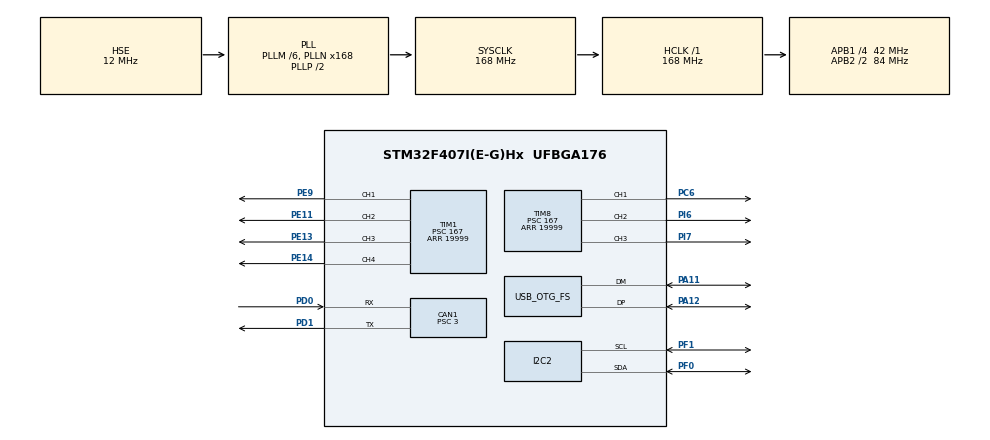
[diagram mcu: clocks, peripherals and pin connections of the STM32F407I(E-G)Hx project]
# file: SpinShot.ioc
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CAN1.BS1=CAN_BS1_10TQ
CAN1.BS2=CAN_BS2_3TQ
CAN1.CalculateBaudRate=1000000
CAN1.CalculateTimeBit=1000
CAN1.CalculateTimeQuantum=71.42857142857143
CAN1.NART=ENABLE
CAN1.Prescaler=3
I2C2.I2C_Mode=I2C_Fast
Mcu.Family=STM32F4
Mcu.Name=STM32F407I(E-G)Hx
Mcu.Package=UFBGA176
NVIC.CAN1_RX0_IRQn=true\:0\:0\:false\:false\:true\:true\:true\:true
NVIC.OTG_FS_IRQn=true\:0\:0\:false\:false\:true\:true\:true\:true
NVIC.PriorityGroup=NVIC_PRIORITYGROUP_4
PA11.Mode=Device_Only
PA11.Signal=USB_OTG_FS_DM
PA12.Mode=Device_Only
PA12.Signal=USB_OTG_FS_DP
PA13.Mode=Serial_Wire
PA13.Signal=SYS_JTMS-SWDIO
PA14.Mode=Serial_Wire
PA14.Signal=SYS_JTCK-SWCLK
PC6.Signal=S_TIM8_CH1
PD0.Mode=CAN_Activate
PD0.Signal=CAN1_RX
PD1.Mode=CAN_Activate
PD1.Signal=CAN1_TX
PE11.Signal=S_TIM1_CH2
PE13.Signal=S_TIM1_CH3
PE14.Signal=S_TIM1_CH4
PE9.Signal=S_TIM1_CH1
PF0.Mode=I2C
PF0.Signal=I2C2_SDA
PF1.Mode=I2C
PF1.Signal=I2C2_SCL
PH0-OSC_IN.Mode=HSE-External-Oscillator
PH0-OSC_IN.Signal=RCC_OSC_IN
PH1-OSC_OUT.Mode=HSE-External-Oscillator
PH1-OSC_OUT.Signal=RCC_OSC_OUT
PI6.Signal=S_TIM8_CH2
PI7.Signal=S_TIM8_CH3
ProjectManager.HeapSize=0x200
ProjectManager.StackSize=0x400
ProjectManager.TargetToolchain=MDK-ARM V5
RCC.48MHZClocksFreq_Value=48000000
RCC.AHBFreq_Value=168000000
RCC.APB1CLKDivider=RCC_HCLK_DIV4
RCC.APB1Freq_Value=42000000
RCC.APB1TimFreq_Value=84000000
RCC.APB2CLKDivider=RCC_HCLK_DIV2
RCC.APB2Freq_Value=84000000
RCC.APB2TimCLKDivider=2
RCC.APB2TimFreq_Value=168000000
RCC.CortexFreq_Value=168000000
RCC.HCLKFreq_Value=168000000
RCC.HSE_VALUE=12000000
RCC.HSI_VALUE=16000000
RCC.LSE_VALUE=32768
RCC.PLLM=6
RCC.PLLN=168
RCC.PLLQ=7
RCC.SYSCLKFreq_VALUE=168000000
RCC.SYSCLKSource=RCC_SYSCLKSOURCE_PLLCLK
RCC.VCOOutputFreq_Value=336000000
SH.S_TIM1_CH1.0=TIM1_CH1,PWM Generation1 CH1
SH.S_TIM1_CH2.0=TIM1_CH2,PWM Generation2 CH2
SH.S_TIM1_CH3.0=TIM1_CH3,PWM Generation3 CH3
SH.S_TIM1_CH4.0=TIM1_CH4,PWM Generation4 CH4
SH.S_TIM8_CH1.0=TIM8_CH1,PWM Generation1 CH1
SH.S_TIM8_CH2.0=TIM8_CH2,PWM Generation2 CH2
SH.S_TIM8_CH3.0=TIM8_CH3,PWM Generation3 CH3
TIM1.Channel-PWM\ Generation1\ CH1=TIM_CHANNEL_1
TIM1.Channel-PWM\ Generation2\ CH2=TIM_CHANNEL_2
TIM1.Channel-PWM\ Generation3\ CH3=TIM_CHANNEL_3
TIM1.Channel-PWM\ Generation4\ CH4=TIM_CHANNEL_4
TIM1.Period=19999
TIM1.Prescaler=167
TIM1.Pulse-PWM\ Generation1\ CH1=2000
TIM1.Pulse-PWM\ Generation2\ CH2=2000
TIM1.Pulse-PWM\ Generation3\ CH3=2000
TIM1.Pulse-PWM\ Generation4\ CH4=2000
TIM8.Channel-PWM\ Generation1\ CH1=TIM_CHANNEL_1
TIM8.Channel-PWM\ Generation2\ CH2=TIM_CHANNEL_2
TIM8.Channel-PWM\ Generation3\ CH3=TIM_CHANNEL_3
TIM8.Period=19999
TIM8.Prescaler=167
TIM8.Pulse-PWM\ Generation1\ CH1=2000
TIM8.Pulse-PWM\ Generation2\ CH2=2000
TIM8.Pulse-PWM\ Generation3\ CH3=2000
USB_DEVICE.CLASS_NAME_FS=CDC
USB_DEVICE.VirtualMode-CDC_FS=Cdc
USB_DEVICE.VirtualModeFS=Cdc_FS
USB_OTG_FS.VirtualMode=Device_Only
VP_TIM1_VS_ClockSourceINT.Mode=Internal
VP_TIM8_VS_ClockSourceINT.Mode=Internal
VP_USB_DEVICE_VS_USB_DEVICE_CDC_FS.Mode=CDC_FS
board=custom

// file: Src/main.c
/* USER CODE BEGIN Header */
/**
  ******************************************************************************
  * @file           : main.c
  * @brief          : Main program body for controlling a motor with various states
  ******************************************************************************
  * Project Name: SpinShot
  * Author: Chia-An Fan et al.
  * Conference: UIST2024
  ******************************************************************************
  * Supplementary Information:
  * - Upon receiving messages from the serial interface, commands are parsed in the
  *   usbd_cdc_if.c file and enqueued in the command queue for execution.
  * - Definitions for Status, Command_Type, and other key configurations are provided
  *   in main.h, centralizing important data types and enums.
  * - PID control operations are handled through functions defined in pid.c, ensuring
  *   precise control over motor behavior based on dynamic feedback.
  * - Motor status updates are managed via the CAN bus, with detailed handling and
  *   parsing implemented in CAN_receive.c to ensure timely updates to system states.
  ******************************************************************************
  */
/* USER CODE END Header */
#include "main.h"
#include "can.h"
#include "i2c.h"
#include "tim.h"
#include "usb_device.h"
#include "gpio.h"

/* USER CODE BEGIN Includes */
#include "bsp_can.h"
#include "CAN_receive.h"
#include "usbd_cdc_if.h"
#include "pid.h"
#include <stdlib.h>

//#include "commend_processor.h"

/* USER CODE END Includes */

/* USER CODE BEGIN PD */
#define AS5600_RAW_ADDR 0x36
#define AS5600_ADDR (AS5600_RAW_ADDR << 1)
#define AS5600_RAW_ANGLE_REGISTER 0x0C

#define VALUE_ANGLE_15 170
#define VALUE_ANGLE_180 2048

#define MINIM_LATENCY_FACTOR 0.24

void Print_Rpm(void);
void Print_Angle(void);
void Print(void);
void Reset_Angle(void);
void Read_And_Calculate_Angle(void);
void Process_Commend(void);
void Brake_Event_Start(void);
bool_t Brake_Event(void);
bool_t IsReadyToBrake(void);
bool_t IsAboutToCollide(void);
bool_t IsCollided(void);
void Calibrate_Angle();
uint16_t Read_Raw_Angle(void);
//tool
void get_dec_str(uint8_t*, size_t, int32_t, bool_t);
/* USER CODE END PD */

/* USER CODE BEGIN PV */
Command_Queue *command_queue;      // Queue for managing incoming commands

/* Enumerated states for different phases of operation */
enum Status status = NOT_CALIBRATED;
enum Impact_phases impact_phases = IMPACT_STANDBY;
enum ERR_TYPE err_type = NO_ERR;

/* Variables to store angles and their base calibration */
static float angle = 0;
static float base_raw_angle = 0;
uint8_t angle_err_counter = 0;

/* Timer variables */
static uint32_t brake_start_time;
static uint32_t last_print_time;

/* Control variables */
int16_t impact_mode;
int16_t target_rpm;
int16_t accelerate_current;
int16_t shift_angle;
PID_TypeDef motor_pid;

/* Message and logging variables */
int16_t message_type = 0;
float last_angle = 0;

/* Runtime operational parameters */
static int16_t current_rpm = 0;
static int16_t current_torque = 0;
bool_t impact_direction = 0;

/* Configuration parameters for device operation */
uint32_t print_freq = 10; // Frequency of status prints in milliseconds
uint32_t minimum_impact_rpm = 150;  // Minimum RPM for impact

/* USER CODE END PV */

void SystemClock_Config(void);

int main(void)
{

    /* MCU Configuration--------------------------------------------------------*/

    /* Reset of all peripherals, Initializes the Flash interface and the Systick. */
    HAL_Init();

    /* Configure the system clock */
    SystemClock_Config();

    /* Initialize all configured peripherals */
    MX_GPIO_Init();
    MX_CAN1_Init();
    MX_USB_DEVICE_Init();
    MX_TIM1_Init();
    MX_TIM8_Init();
    MX_I2C2_Init();

    /* USER CODE BEGIN 2 */
	// Initial setup for timers and PWM
	last_print_time = HAL_GetTick();
	HAL_TIM_Base_Start(&htim1);
	HAL_TIM_PWM_Start(&htim1, TIM_CHANNEL_1);

	can_filter_init();
	pid_init(&motor_pid);
	//motor_pid.f_param_init(&motor_pid,PID_Speed,16384,5000,10,0,8000,0,1.5,0.1,0); // another PID parameter set
	motor_pid.f_param_init(&motor_pid,PID_Speed,16384,5000,10,0,8000,0,3,0.06,0.06);
	__HAL_TIM_SetCompare(&htim1, TIM_CHANNEL_1, 0);
	command_queue = Command_Queue_Init();
  /* USER CODE END 2 */

  /* Infinite loop */
  /* USER CODE BEGIN WHILE */
    while (1)
    {
        // Read and process motor speed and commands
		current_rpm = (get_motor_measure_point())->speed_rpm / 36;
        current_torque = (get_motor_measure_point())->given_current;
		Process_Commend();

		Read_And_Calculate_Angle();

        // Logic for different operational states
		if(status == STABLE || (status == IMPACT && impact_phases == IMPACT_PHASE_1)) {
			motor_pid.target = target_rpm * 36;
			motor_pid.f_cal_pid(&motor_pid, (get_motor_measure_point())->speed_rpm);
			CAN_cmd_current(motor_pid.output);
		}
		if(status == FREE || status == NOT_CALIBRATED)
		{
			CAN_cmd_current(0);  /* no current */
		}
		else if(status == ACCELERATE){
			if(current_rpm < target_rpm - 10) CAN_cmd_current(accelerate_current);
			else if(current_rpm > target_rpm + 10) CAN_cmd_current(-accelerate_current);
			else {
				status = STABLE;
			}
		}
        else if(status == WAIT) {
            if((current_rpm > target_rpm - 10) || (current_rpm < target_rpm + 10))
                status = STABLE;
        }
		else if(status == IMPACT){
			if(((current_rpm > minimum_impact_rpm) || (-current_rpm > minimum_impact_rpm)) && Brake_Event()){
                status = FREE;
			}
		}
        else if(status == IMPACT_AFTER) {
            CAN_cmd_current(0);
            if(current_rpm < 10 || current_rpm > -10)
                status = FREE;
        }
		else if(status == CALIBRATE){
			Calibrate_Angle();
			status = FREE;
		}
        else if(status == ERR) {
            CAN_cmd_current(0); // Turn off the motor
            __HAL_TIM_SetCompare(&htim1, TIM_CHANNEL_1, 0);  // Deactivate the solenoid
        }
		Print();

		// Safety check for solenoid deactivation
		if(HAL_GetTick() - brake_start_time > 1000) __HAL_TIM_SetCompare(&htim1, TIM_CHANNEL_1, 0);  //turn off the solenoid

		HAL_Delay(1);
    /* USER CODE END WHILE */

    }
}

void SystemClock_Config(void)
{
    RCC_OscInitTypeDef RCC_OscInitStruct = {0};
    RCC_ClkInitTypeDef RCC_ClkInitStruct = {0};

    /** Configure the main internal regulator output voltage
    */
    __HAL_RCC_PWR_CLK_ENABLE();
    __HAL_PWR_VOLTAGESCALING_CONFIG(PWR_REGULATOR_VOLTAGE_SCALE1);

    /** Initializes the RCC Oscillators according to the specified parameters
    * in the RCC_OscInitTypeDef structure.
    */
    RCC_OscInitStruct.OscillatorType = RCC_OSCILLATORTYPE_HSE;
    RCC_OscInitStruct.HSEState = RCC_HSE_ON;
    RCC_OscInitStruct.PLL.PLLState = RCC_PLL_ON;
    RCC_OscInitStruct.PLL.PLLSource = RCC_PLLSOURCE_HSE;
    RCC_OscInitStruct.PLL.PLLM = 6;
    RCC_OscInitStruct.PLL.PLLN = 168;
    RCC_OscInitStruct.PLL.PLLP = RCC_PLLP_DIV2;
    RCC_OscInitStruct.PLL.PLLQ = 7;
    if (HAL_RCC_OscConfig(&RCC_OscInitStruct) != HAL_OK)
    {
    Error_Handler();
    }

    /** Initializes the CPU, AHB and APB buses clocks
    */
    RCC_ClkInitStruct.ClockType = RCC_CLOCKTYPE_HCLK|RCC_CLOCKTYPE_SYSCLK
                              |RCC_CLOCKTYPE_PCLK1|RCC_CLOCKTYPE_PCLK2;
    RCC_ClkInitStruct.SYSCLKSource = RCC_SYSCLKSOURCE_PLLCLK;
    RCC_ClkInitStruct.AHBCLKDivider = RCC_SYSCLK_DIV1;
    RCC_ClkInitStruct.APB1CLKDivider = RCC_HCLK_DIV4;
    RCC_ClkInitStruct.APB2CLKDivider = RCC_HCLK_DIV2;

    if (HAL_RCC_ClockConfig(&RCC_ClkInitStruct, FLASH_LATENCY_5) != HAL_OK)
    {
    Error_Handler();
    }
}

/* USER CODE BEGIN 4 */

/**
 * @brief Manages the progression of a braking event through its various phases.
 * This function handles the transition between different phases of a braking event based on certain conditions.
 * It starts with checking readiness to brake, then checks for imminent collision, and finally confirms a collision.
 *
 * @return bool_t - Returns 1 (true) if a collision has occurred and the system has responded appropriately, otherwise 0 (false).
 */
bool_t Brake_Event(){
    // Check if the system is ready to initiate braking and if it's in standby phase
	if(impact_phases == IMPACT_STANDBY && IsReadyToBrake()) {
		impact_phases = IMPACT_PHASE_1; // Move to the first phase of the braking process
		Brake_Event_Start(); // Start the braking process by activating the solenoid
	}
    // Check if the system is in the first phase and a collision is about to happen
	if(impact_phases == IMPACT_PHASE_1 && IsAboutToCollide()){
		CAN_cmd_current(0); // Command the motor to stop to prevent motor stall
		impact_phases = IMPACT_PHASE_2; // Move to the second phase
	}
    // If the system is in the second phase and a collision has occurred
	else if(impact_phases == IMPACT_PHASE_2 && IsCollided()){
		impact_phases = IMPACT_END; // Move to the end phase indicating the impact is complete
		__HAL_TIM_SetCompare(&htim1, TIM_CHANNEL_1, 0); // Deactivate the solenoid
		return 1;
	}
	return 0;
}

/**
 * @brief Checks if conditions are suitable for extending the stopper based on the current flywheel angle and RPMs.
 * This function calculates a buffer angle based on the higher of the current or target RPMs adjusted by a latency factor.
 * It determines if the current mechanical angle is within the calculated safe range for braking.
 * @return bool_t - Returns 1 (true) if conditions are met for braking, otherwise 0 (false).
 */
bool_t IsReadyToBrake() {
    int16_t buffer_degree;
    // Check if motor is spinning in the positive direction
	if(current_rpm > 0 && target_rpm > 0) {
        // Calculate buffer based on the maximum of current or target RPMs
        buffer_degree = (int16_t)(((current_rpm > target_rpm) ? current_rpm : target_rpm) * MINIM_LATENCY_FACTOR) + 1;
        // Check if the angle is within the safe braking range
		if((angle > 15 && angle < (180 - buffer_degree)) || (angle > 195 && angle < (360 - buffer_degree))){
			impact_direction = 0;
			return 1;
		}
	}
    // Check if motor is spinning in the negative direction
	else if(current_rpm < 0 && target_rpm < 0) {
        // Calculate buffer for negative RPMs
        buffer_degree = (int16_t)(((-current_rpm > -target_rpm) ? -current_rpm : -target_rpm) * MINIM_LATENCY_FACTOR) + 1;
        // Check if the angle is within the safe braking range for reverse direction
		if((angle < 345 && angle > (180 + buffer_degree)) || (angle < 165 && angle > buffer_degree)){
			impact_direction = 1;
			return 1;
		}
	}
	return 0;
}

/**
 * @brief Initializes the brake event by activating the solenoid and recording the start time.
 * The solenoid is activated to a specific comparison value to start the braking process.
 */
void Brake_Event_Start() {
	__HAL_TIM_SetCompare(&htim1, TIM_CHANNEL_1, 20000); // Activate solenoid
	brake_start_time = HAL_GetTick(); // Record the start time to manage braking duration
}

/**
 * @brief Determines if the mechanical system is about to collide based on the current angle and impact direction.
 * This function checks predefined critical angle ranges to predict an imminent collision.
 * @return bool_t - Returns 1 (true) if a collision is imminent, otherwise 0 (false).
 */
bool_t IsAboutToCollide(){
    // Check angles for potential collisions based on current impact direction
	if(impact_direction == 0 && ((angle > 145 && angle < 175) || (angle > 325 && angle < 355))) return 1;
	else if(impact_direction == 1 && ((angle > 185 && angle < 215) || (angle > 5 && angle < 35))) return 1;
	return 0;
}

/**
 * @brief Checks if a collision has occurred based on the motor's RPM.
 * The function evaluates the motor speed to determine if it has effectively stopped moving due to an impact.
 * @return bool_t - Returns 1 (true) if a collision is detected, otherwise 0 (false).
 */
bool_t IsCollided() {
    // Evaluate motor speed to check if it has stopped due to collision
	if ((impact_direction == 0 && (get_motor_measure_point())->speed_rpm <= 0) ||
        (impact_direction == 1 && (get_motor_measure_point())->speed_rpm >= 0)) {
        return 1;
    }
	return 0;
}

/**
 * @brief Calibrates the angle sensor by reading the raw angle and setting it as the base reference point.
 * This function is typically called to reset the angle measurement to zero based on current position.
 */
void Calibrate_Angle(){
	base_raw_angle = (float)Read_Raw_Angle();
}

/**
 * @brief Reads the raw angle value from an AS5600 sensor using I2C communication.
 * This function transmits the register address and then reads the 2-byte raw angle value from the sensor.
 * If the read operation is successful and no previous encoder error was detected, it resets any error conditions.
 * In case of repeated failed reads, it flags an encoder error after a threshold is exceeded.
 *
 * @return uint16_t - The raw angle if read successfully, 0 otherwise (also indicates an error condition).
 */
uint16_t Read_Raw_Angle(){
	HAL_StatusTypeDef hal_status;
	uint8_t buffer[2] = {0};  // Buffer to hold the 2-byte angle data
	uint16_t raw_angle = 0;   // Variable to store the combined raw angle value
	uint8_t raw_angle_register = AS5600_RAW_ANGLE_REGISTER;  // I2C register address for the angle

    // Transmit the address of the angle register to the sensor
	hal_status = HAL_I2C_Master_Transmit(&hi2c2, AS5600_ADDR, &raw_angle_register, 1, 11);
    // Receive the 2-byte raw angle value from the sensor
	hal_status = HAL_I2C_Master_Receive(&hi2c2, (AS5600_ADDR | 1), buffer, 2, 12);

    if(hal_status == HAL_OK) {  // Check if the I2C operations were successful
        if(status == ERR && err_type == ENCODER_ERR){  // Reset error status if previously in error
            status = FREE;
            err_type = NO_ERR;
        }
        raw_angle = buffer[0] << 8 | buffer[1];  // Combine the two bytes into one raw angle value
        angle_err_counter = 0;  // Reset the error counter on successful read
        return raw_angle;
    }
	else {
        angle_err_counter++;  // Increment the error counter on failure
        if(angle_err_counter > 100){  // Check if error count exceeds threshold
            status = ERR;  // Set system status to error
            err_type = ENCODER_ERR;  // Specify encoder error
        }
        return 0;
    }
}

/**
 * @brief Calculates the processed angle from the raw sensor data.
 * This function reads the raw angle from the sensor and adjusts it based on the base calibration angle.
 * It then converts this adjusted raw value into a 360-degree scale format to represent the actual angle.
 */
void Read_And_Calculate_Angle(){
	float raw_angle = (float)Read_Raw_Angle();  // Get the raw angle from the sensor
    if(raw_angle < 4096) {  // Validate that the raw angle is within the expected range
        // Calculate the actual angle by adjusting from the base angle and converting to degrees
    	angle = raw_angle >= base_raw_angle ? raw_angle - base_raw_angle : raw_angle + 4096 - base_raw_angle;
        angle = angle * 360 / 4096;  // Scale the adjusted angle to a 0-360 degree range
    }
}

/**
 * @brief Initializes and allocates memory for a new command queue.
 * This function sets up a command queue with a predefined capacity, initializing all parameters
 * and allocating memory for storing commands.
 *
 * @return Command_Queue* - Pointer to the newly allocated command queue; NULL if memory allocation fails.
 */
Command_Queue * Command_Queue_Init(){
	Command_Queue *q = malloc(sizeof(Command_Queue));
    if(!q) {
        return q;
    }
    q->null_command.type = C_NOP;
    q->size = 0;
    q->capacity = 15;
    q->head = 0;
    q->tail = 0;
    q->elements = malloc(q->capacity * sizeof(Command));
    if(!(q->elements)) {
        free(q);
        q = NULL;
        return q;
    }
    return q;
}

/**
 * @brief Adds a temporary command to the command queue.
 * This function enqueues a temporary command at the tail of the queue if there is space available.
 *
 * @param self - Pointer to the command queue where the command will be enqueued.
 * @param type - The type of command to enqueue.
 * @param values - An array of integers containing the command values.
 *
 * @return bool_t - Returns 1 if the command is successfully enqueued, otherwise 0.
 */
bool_t Enqueue_Command(Command_Queue * self, enum Command_Type type, int values[]){
    if(self->temp_size == self->capacity) return 0;
    else{
        if (self->temp_size != 0) self->temp_tail = (self->temp_tail + 1) % self->capacity;
        (self->elements[self->temp_tail]).type = type;
        for(int i=0; i<3; ++i){
            (self->elements[self->temp_tail]).values[i] = values[i];
        }
        self->temp_size = self->temp_size + 1;
        return 1;
    }
}

/**
 * @brief Confirms the enqueuing of commands in the temporary state to the main queue.
 * This function applies the temporary size and tail updates to the actual queue state.
 *
 * @param self - Pointer to the command queue being modified.
 */
void Confirm_Enqueue(Command_Queue * self) {
    self->size = self->temp_size;
    self->tail = self->temp_tail;
}

/**
 * @brief Reverts any changes made during a temporary enqueue operation.
 * This function resets the temporary queue size and tail to the last confirmed state.
 *
 * @param self - Pointer to the command queue being modified.
 */
void Rollback_Enqueue(Command_Queue * self) {
    self->temp_size = self->size;
    self->temp_tail = self->tail;
}

/**
 * @brief Retrieves the command at the front of the queue without removing it.
 * This function peeks at the first command in the queue if available.
 *
 * @param self - Pointer to the command queue.
 *
 * @return Command - The command at the front of the queue; returns a null command if the queue is empty.
 */
Command Peek_Command(Command_Queue * self) {
    if(self->size == 0) return self->null_command;
    else{
        return self->elements[self->head];
    }
}

/**
 * @brief Removes and returns the command at the front of the queue.
 * This function dequeues the first command in the queue, adjusting the head pointer accordingly.
 *
 * @param self - Pointer to the command queue.
 *
 * @return Command - The dequeued command; returns a null command if the queue is empty.
 */
Command Dequeue_Command(Command_Queue * self) {
    if(self->size == 0) return self->null_command;
    else{
        Command popped = self->elements[self->head];
        if(self->size != 1) self->head = (self->head + 1) % self->capacity;
        self->size = self->size - 1;
        self->temp_size = self->temp_size - 1;
        return popped;
    }
}

/**
 * @brief Processes the next command in the command queue and updates system state based on the command type.
 * This function peeks at the front command in the queue and performs actions based on its type,
 * adjusting the motor control parameters and system state accordingly.
 */
void Process_Commend() {
    Command processing_command = Peek_Command(command_queue);  // Peek at the first command in the queue without removing it

    // Handle different types of commands based on their type field
	if(processing_command.type == C_ACCELERATE){
		if((status == FREE || status == STABLE || status == ACCELERATE)){
			status = ACCELERATE;
			target_rpm = processing_command.values[0];
			accelerate_current = processing_command.values[1];
			Dequeue_Command(command_queue);
		}
        else if(status == IMPACT_AFTER){ //TODO
            if((impact_direction == 0 && processing_command.values[0] < 0) || (impact_direction == 1 && processing_command.values[0] > 0)) {
                status = ACCELERATE;
                target_rpm = processing_command.values[0];
                accelerate_current = processing_command.values[1];
                Dequeue_Command(command_queue);
            }
            else{
                status = ERR;
                target_rpm = 0;
            }
        }
	}
	else if(processing_command.type == C_FREE){
		if(status == ACCELERATE || status == STABLE || status == FREE) {
			status = FREE;
            target_rpm = 0;
            Dequeue_Command(command_queue);
		}
	}
    else if(processing_command.type == C_WAIT){
		if(status == ACCELERATE);
        else if(status == FREE) {
            status = WAIT;
            Dequeue_Command(command_queue);
        }
        else if(status == STABLE) {
            Dequeue_Command(command_queue);
        }
	}
	else if(processing_command.type == C_IMPACT) {
		if((status == STABLE || status == ACCELERATE) && (target_rpm > minimum_impact_rpm || -target_rpm > minimum_impact_rpm)){
            status = IMPACT;
            impact_phases = IMPACT_STANDBY;
            Dequeue_Command(command_queue);
		}
		else {
			status = ERR;
		}
	}
	else if(processing_command.type == C_CALIBRATE) {
		int16_t angle = processing_command.values[0];
		if((status == FREE || status == NOT_CALIBRATED)) {
			status = CALIBRATE;
			shift_angle = angle;
			Dequeue_Command(command_queue);
		}
	}
	else if(processing_command.type == C_NOP){
	}
}

/**
 * @brief Periodically sends system status updates to the computer via the USB serial interface.
 * This function formats the current RPM, angle, torque, system status, and impact phase into a message
 * string and sends it over the serial connection.
 *
 * Message Format:
 * - Bytes 0-3: Current RPM (signed)
 * - Bytes 4-6: Current angle
 * - Bytes 7-11: Current torque
 * - Byte 12: System status
 * - Byte 13: Impact phase (unsigned integer if in impact status, '0' otherwise)
 */
void Print(){
    int time = HAL_GetTick();
    if(time - last_print_time >= print_freq){
        last_print_time = HAL_GetTick();
        uint8_t message_string[15];
        get_dec_str(message_string, 4, (uint32_t)current_rpm, 1);
        get_dec_str(message_string + 4, 3, (uint32_t)angle, 0);
        get_dec_str(message_string + 7, 5, (uint32_t)current_torque, 0);
        get_dec_str(message_string + 12, 1, (uint32_t)status, 0);
        if(status == IMPACT) get_dec_str(message_string + 13, 1, (uint32_t)impact_phases, 0);
        else message_string[13] = '0';
        message_string[14] = '\0';
        CDC_Transmit_FS((uint8_t*)&message_string, 15);
    }
}

/**
 * @brief Converts an integer value to a decimal string representation.
 * This function formats an integer value into a string of a specified length. If the integer is negative
 * and the hasSign flag is set, the string will include a negative sign. Otherwise, the string is filled with
 * the integer's digits and leading zeros.
 *
 * @param str Pointer to the string buffer where the resulting string will be stored.
 * @param len The length of the resulting string including the sign (if any) but excluding the null terminator.
 * @param val The integer value to convert into a string.
 * @param hasSign A boolean flag indicating whether a sign should be included for negative values.
 *
 * Functionality:
 * - If the value is negative and hasSign is true, the function places a '-' in the string; it converts the value to positive.
 * - If the value is positive and hasSign is true, the function places a '+' in the string;
 * - It then fills the string from the end to the beginning with the least significant digits of the value.
 * - Any remaining positions in the string up to 'len' are filled with '0'.
 * - The string is null-terminated after the last digit.
 */
void get_dec_str (uint8_t* str, size_t len, int32_t val, bool_t hasSign)
{
    uint8_t i = 1;
    bool_t sign = '+';
    if(val < 0) {
        val = -val;
        sign = '-';
    }
    for(; i<=len && val > 0; ++i)
    {
        str[len-i] = (uint8_t) ((val % 10UL) + '0');
        val/=10;
    }
    for(; i<= len; ++i){
        str[len-i] = '0';
    }
    if(hasSign && str[0] == '0') {
        str[0] = sign;
    }

    str[i-1] = '\0';  // Null-terminate the string
}

/* USER CODE END 4 */

void Error_Handler(void)
{
}
